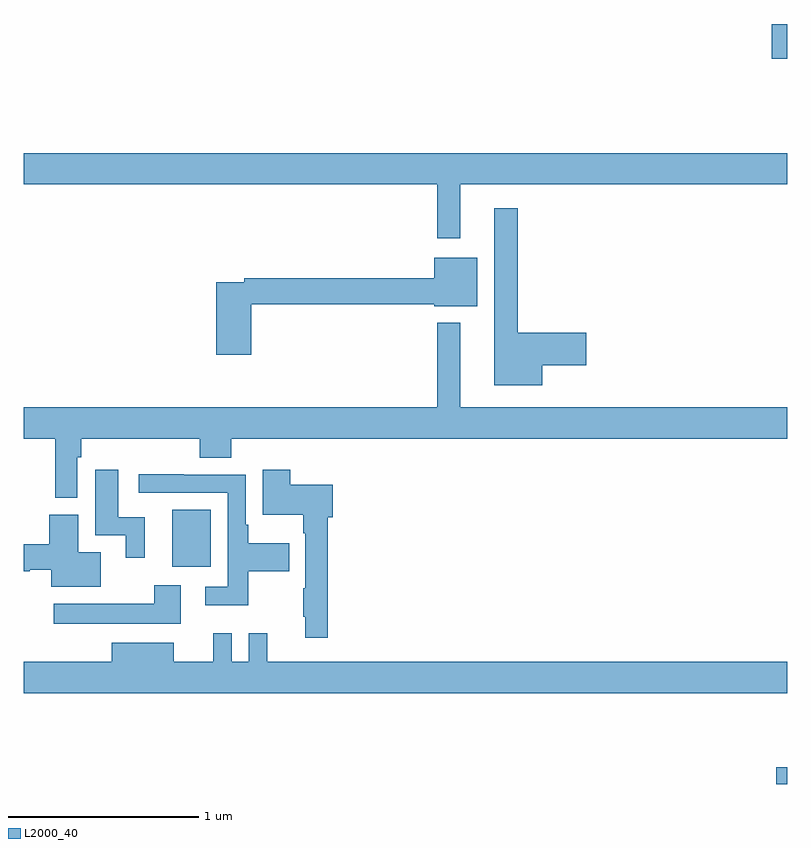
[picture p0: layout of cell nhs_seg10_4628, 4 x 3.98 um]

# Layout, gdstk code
import gdstk
lib = gdstk.Library(unit=1e-6, precision=1e-09)
def R(c, l, rs):  # rectangles x0, y0, x1, y1
    for r in rs: c.add(gdstk.rectangle(r[:2], r[2:], *l))
def P(c, l, *ps):  # polygons
    for p in ps: c.add(gdstk.Polygon(p, *l))
L2000_40 = (2000, 40)

nhs_seg10_4628 = lib.new_cell('nhs_seg10_4628')
R(nhs_seg10_4628, L2000_40, [(378.941,1306.5,379,1306.588), (375.779,1307.639,375.979,1307.935), (378.918,1310.297,379,1310.48)])
P(nhs_seg10_4628, L2000_40, [(377.287,1309.64),(379,1309.64),(379,1309.804),(375,1309.804),(375,1309.64),(377.166,1309.64),(377.166,1309.359),(377.287,1309.359)],
  [(377.716,1308.692),(377.947,1308.692),(377.947,1308.863),(377.587,1308.863),(377.587,1309.516),(377.465,1309.516),(377.465,1308.587),(377.716,1308.587)],
  [(376.193,1309.012),(377.15,1309.012),(377.15,1309.001),(377.377,1309.001),(377.377,1309.255),(377.15,1309.255),(377.15,1309.148),(376.156,1309.148),(376.156,1309.128),(376.01,1309.128),(376.01,1308.747),(376.193,1308.747)],
  [(375.282,1308.212),(375.302,1308.212),(375.302,1308.308),(375.923,1308.308),(375.923,1308.209),(376.088,1308.209),(376.088,1308.308),(379,1308.308),(379,1308.472),(377.287,1308.472),(377.287,1308.916),(377.166,1308.916),(377.166,1308.472),(375,1308.472),(375,1308.308),(375.166,1308.308),(375.166,1308),(375.282,1308)],
  [(376.592,1307.897),(376.619,1307.897),(376.619,1308.067),(376.397,1308.067),(376.397,1308.145),(376.253,1308.145),(376.253,1307.909),(376.464,1307.909),(376.464,1307.813),(376.476,1307.813),(376.476,1307.525),(376.464,1307.525),(376.464,1307.377),(376.475,1307.377),(376.475,1307.265),(376.592,1307.265)],
  [(375.634,1307.898),(375.496,1307.898),(375.496,1308.145),(375.374,1308.145),(375.374,1307.802),(375.536,1307.802),(375.536,1307.685),(375.634,1307.685)],
  [(376.177,1307.614),(376.391,1307.614),(376.391,1307.761),(376.177,1307.761),(376.177,1307.857),(376.164,1307.857),(376.164,1308.12),(375.839,1308.12),(375.839,1308.122),(375.603,1308.122),(375.603,1308.024),(376.068,1308.024),(376.068,1307.532),(375.951,1307.532),(375.951,1307.435),(376.177,1307.435)],
  [(375.403,1307.713),(375.286,1307.713),(375.286,1307.911),(375.134,1307.911),(375.134,1307.756),(375,1307.756),(375,1307.614),(375.033,1307.614),(375.033,1307.621),(375.146,1307.621),(375.146,1307.534),(375.403,1307.534)],
  [(375.823,1307.542),(375.683,1307.542),(375.683,1307.443),(375.159,1307.443),(375.159,1307.339),(375.823,1307.339)],
  [(379,1307.14),(376.277,1307.14),(376.277,1307.29),(376.179,1307.29),(376.179,1307.14),(376.089,1307.14),(376.089,1307.29),(375.992,1307.29),(375.992,1307.14),(375.787,1307.14),(375.787,1307.239),(375.461,1307.239),(375.461,1307.14),(375,1307.14),(375,1306.976),(379,1306.976)])

lib.write_gds('nhs_seg10_4628.gds')
